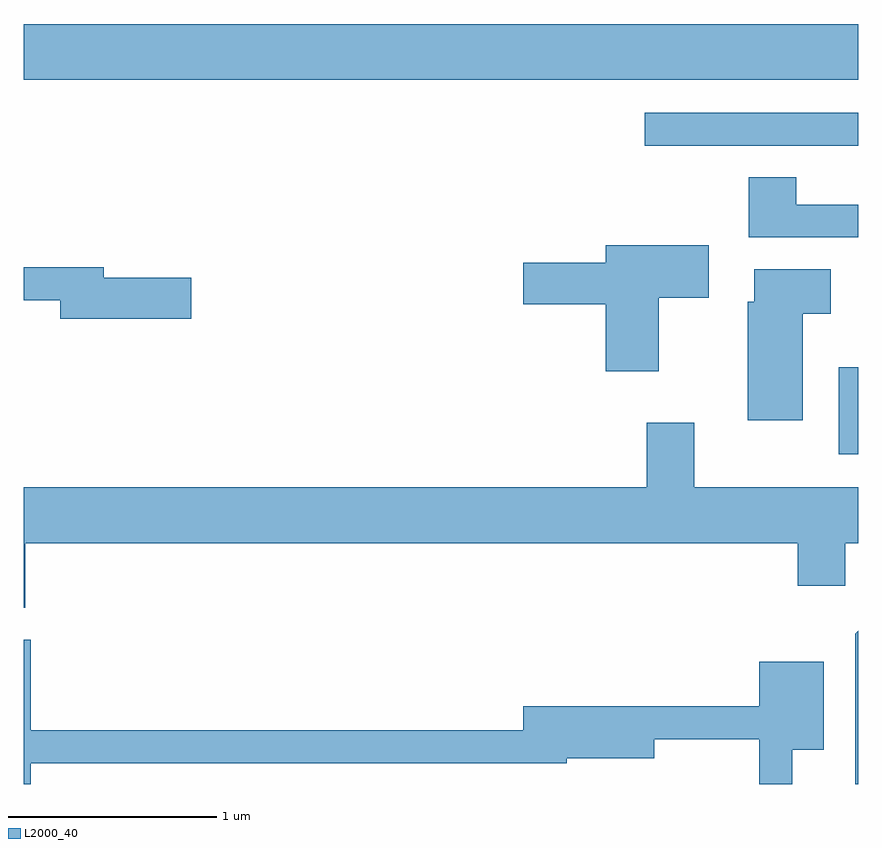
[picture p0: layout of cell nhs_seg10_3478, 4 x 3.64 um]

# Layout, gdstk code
import gdstk
lib = gdstk.Library(unit=1e-6, precision=1e-09)
def R(c, l, rs):  # rectangles x0, y0, x1, y1
    for r in rs: c.add(gdstk.rectangle(r[:2], r[2:], *l))
def P(c, l, *ps):  # polygons
    for p in ps: c.add(gdstk.Polygon(p, *l))
L2000_40 = (2000, 40)

nhs_seg10_3478 = lib.new_cell('nhs_seg10_3478')
R(nhs_seg10_3478, L2000_40, [(291.516,2132.101,291.611,2132.519), (290.588,2133.581,291.611,2133.739), (287.611,2133.896,291.611,2134.164)])
P(nhs_seg10_3478, L2000_40, [(291.611,2133.299),(291.314,2133.299),(291.314,2133.429),(291.086,2133.429),(291.086,2133.141),(291.611,2133.141)],
  [(290.654,2132.851),(290.894,2132.851),(290.894,2133.104),(290.401,2133.104),(290.401,2133.019),(290.006,2133.019),(290.006,2132.821),(290.401,2132.821),(290.401,2132.501),(290.654,2132.501)],
  [(288.414,2132.949),(287.994,2132.949),(287.994,2132.999),(287.611,2132.999),(287.611,2132.841),(287.786,2132.841),(287.786,2132.751),(288.414,2132.751)],
  [(291.344,2132.776),(291.479,2132.776),(291.479,2132.989),(291.111,2132.989),(291.111,2132.834),(291.081,2132.834),(291.081,2132.266),(291.344,2132.266)],
  [(287.619,2131.676),(291.321,2131.676),(291.321,2131.471),(291.549,2131.471),(291.549,2131.676),(291.611,2131.676),(291.611,2131.944),(290.824,2131.944),(290.824,2132.254),(290.596,2132.254),(290.596,2131.944),(287.611,2131.944),(287.611,2131.366),(287.619,2131.366)],
  [(291.611,2131.257),(291.596,2131.242),(291.596,2130.522),(291.611,2130.522)],
  [(287.644,2130.621),(290.214,2130.621),(290.214,2130.646),(290.634,2130.646),(290.634,2130.736),(291.136,2130.736),(291.136,2130.522),(291.294,2130.522),(291.294,2130.686),(291.444,2130.686),(291.444,2131.109),(291.136,2131.109),(291.136,2130.894),(290.006,2130.894),(290.006,2130.779),(287.644,2130.779),(287.644,2131.214),(287.611,2131.214),(287.611,2130.522),(287.644,2130.522)])

lib.write_gds('nhs_seg10_3478.gds')
